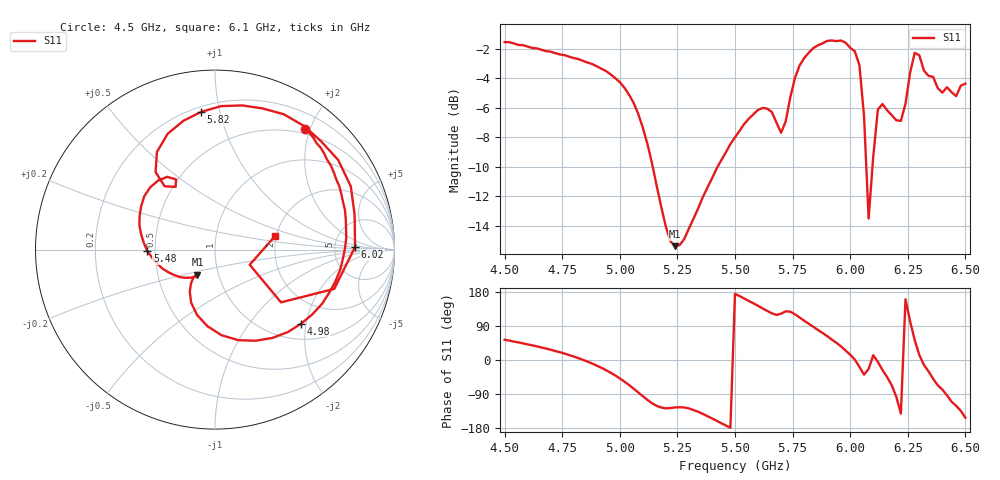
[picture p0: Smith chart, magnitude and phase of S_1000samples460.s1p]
! TOUCHSTONE file generated by CST MICROWAVE STUDIO
! Date and time: Fri Oct 28 06:04:09 2022
! Project name: L.cst
! Parameters = {Di=1.27; Epsilon_r=1.56; InnerDiameter=1.27; Length=2; Lf=10; Lg=60; OuterConductorThickness=0.2921; OuterDiameter=3.6; Wf=3; Wp=41.2; de=1.5; df=6.8; g=0.8; gx=1.46977; gy=0.611293; h=2.34; hf=1.524; px=9.8363; py=12.7934; w=9.7; wx=8.36653; wy=12.1821}
! Header version: 2018
! Port assignment regex: !\s*Touchstone port\s*([0-9]+)\s*=\s*(CST MWS port|CST DS port)\s*([0-9]+|Zmin|Zmax)\s*\(\"(.*)\"\)(\s*mode\s*([0-9]+))?.*
! Touchstone port assignment:
! Touchstone port 1 = CST MWS port 1 ("")
# GHz S DB R 50
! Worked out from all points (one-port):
!   101 points, 4.5 GHz to 6.5 GHz, reference 50 ohm
!   lowest |S11| = -15.4 dB at 5.24 GHz (marker M1), VSWR 1.41, Z = 39.6 - j11.4 ohm
!   |S11| at or under -10 dB: 5.143 GHz to 5.425 GHz (281.6 MHz wide, 5.33 % of centre); 6.069916 GHz to 6.096721 GHz (26.8 MHz wide, 0.441 % of centre)
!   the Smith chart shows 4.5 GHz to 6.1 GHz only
!   S11 on the Smith chart (normalised r, x): 4.5 GHz: 0.42, +1.91; 4.98 GHz: 1.36, -1.87; 5.48 GHz: 0.45, -0.01; 5.82 GHz: 0.23, +0.88; 6.02 GHz: 8.07, +0.61; 6.1 GHz: 1.97, +0.33
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4.5  -1.53 53.5
4.76  -2.42 16.9
4.98  -3.98 -40.7
5  -4.25 -48.5
5.12  -8.45 -105.2
5.24  -15.39 -125.1
5.26  -15.31 -124.8
5.48  -8.46 -178.9
5.5  -7.99 174.6
5.7  -7.69 122.1
5.76  -3.98 120.8
5.82  -2.26 95.7
5.9  -1.45 63.0
6  -1.92 14.1
6.02  -2.15 1.1
6.06  -6.55 -38.6
6.08  -13.51 -23.5
6.1  -9.31 12.6
6.14  -5.74 -26.3
6.2  -6.84 -96.8
6.22  -6.88 -141.4
6.24  -5.72 160.4
6.26  -3.61 102.2
6.28  -2.27 52.5
6.3  -2.43 13.2
6.32  -3.46 -12.8
6.38  -4.65 -66.8
6.5  -4.35 -152.3
